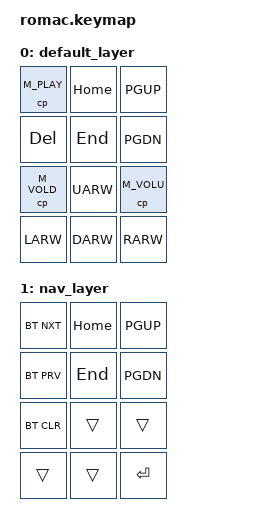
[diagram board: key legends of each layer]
/*
 * Copyright (c) 2020 The ZMK Contributors
 *
 * SPDX-License-Identifier: MIT
 */

#include <behaviors.dtsi>
#include <dt-bindings/zmk/keys.h>
#include <dt-bindings/zmk/bt.h>

/ {
    keymap {
        compatible = "zmk,keymap";
        
        default_layer {
// -------------------
// | 7      |  8  |  9  |
// | 4      |  5  |  6  |
// | 1      |  2  |  3  |
// | MO(1)  |  0  |  .  |
// ----------------------
            bindings = <
    &cp M_PLAY &kp HOME &kp PGUP 
    &kp DEL &kp END &kp PGDN 
    &cp M_VOLD &kp UARW &cp M_VOLU 
    &kp LARW     &kp DARW &kp RARW 
            >;
        };

        nav_layer {
// -----------------------
// | BTNXT |  HOME  |  PGUP  |
// | BTPRV |  END   |  PGDN  |
// | BTCLR |  _     |  _     |
// | _     |  _     |  RET   |
// -----------------------
            bindings = <
    &bt BT_NXT &kp HOME &kp PGUP 
    &bt BT_PRV &kp END  &kp PGDN 
    &bt BT_CLR &trans   &trans 
    &trans     &trans   &kp RET
            >;
        };
    };
};


